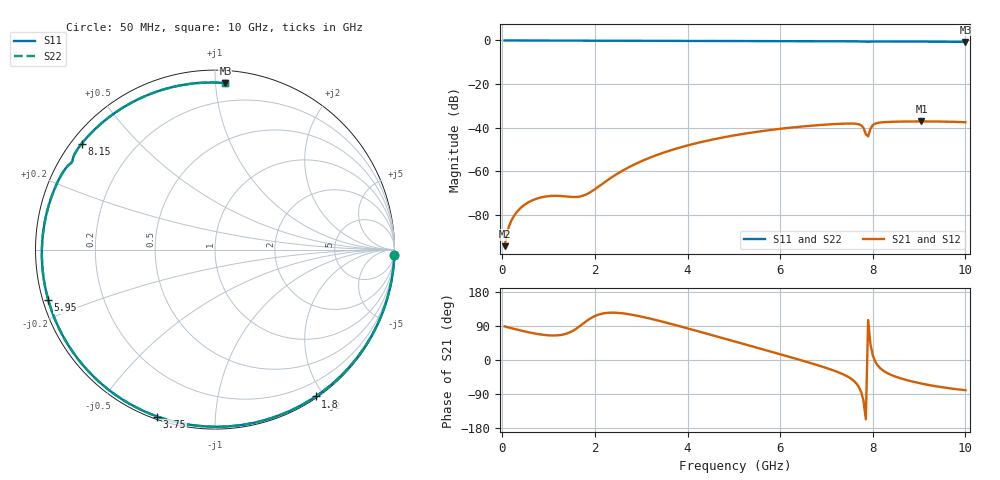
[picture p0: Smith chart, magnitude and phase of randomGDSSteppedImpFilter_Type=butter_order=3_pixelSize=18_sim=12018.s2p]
! freq	dB(S11)	phase(S11)	dB(S12)	phase(S12)
!  dB(S21)	phase(S21)	dB(S22)	phase(S22)
!S-par simulation data
#  GHz  S  DB  R 50
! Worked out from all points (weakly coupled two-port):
!   200 points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, 50 MHz to 10 GHz, reference 50 ohm
!   highest |S21| = -37.18 dB at 9.05 GHz (marker M1); lowest = -94.5 dB at 50 MHz (marker M2)
!   lowest |S11| = -0.6 dB at 10 GHz (marker M3), VSWR 27.28, Z = 3.9 + j53.1 ohm
!   |S11| at or under -10 dB: nowhere
!   |S22| runs from -0.6 to 0.0 dB; largest |S21 - S12| = 0
!   S11 on the Smith chart (normalised r, x): 50 MHz: 0, -71; 1.8 GHz: 0.02, -1.90; 3.75 GHz: 0.01, -0.71; 5.95 GHz: 0.02, -0.15; 8.15 GHz: 0.03, +0.35; 10 GHz: 0.08, +1.06
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0.05  -0.00 -1.6  -94.45 88.7  -94.45 88.7  -0.00 -1.6
0.25  -0.01 -7.9  -80.65 82.2  -80.65 82.2  -0.01 -7.9
0.55  -0.02 -17.4  -74.49 73.6  -74.49 73.6  -0.02 -17.4
0.85  -0.03 -26.8  -72.00 67.0  -72.00 67.0  -0.03 -26.7
1.75  -0.07 -54.1  -71.24 96.4  -71.24 96.4  -0.07 -54.1
1.8  -0.07 -55.5  -70.82 101.1  -70.82 101.1  -0.07 -55.5
2.65  -0.10 -79.8  -59.15 122.4  -59.15 122.4  -0.10 -79.8
3.4  -0.13 -100.0  -52.12 103.0  -52.12 103.0  -0.13 -100.0
3.75  -0.14 -109.1  -49.70 91.8  -49.70 91.8  -0.14 -109.1
5.05  -0.20 -141.4  -43.44 47.8  -43.44 47.8  -0.20 -141.4
5.95  -0.26 -163.2  -40.69 16.9  -40.69 16.9  -0.26 -163.2
6.7  -0.32 178.5  -39.09 -9.6  -39.09 -9.6  -0.32 178.5
7.65  -0.43 154.1  -38.29 -62.5  -38.29 -62.5  -0.43 154.1
7.75  -0.47 151.4  -38.98 -84.7  -38.98 -84.7  -0.47 151.4
7.85  -0.58 149.0  -43.02 -156.5  -43.02 -156.5  -0.58 149.0
7.9  -0.59 148.3  -44.05 105.5  -44.05 105.5  -0.59 148.3
7.95  -0.53 147.2  -40.50 41.3  -40.50 41.3  -0.53 147.2
8  -0.48 145.8  -38.88 12.4  -38.88 12.4  -0.48 145.8
8.15  -0.46 141.5  -37.70 -20.5  -37.70 -20.5  -0.46 141.5
8.35  -0.47 135.9  -37.39 -36.8  -37.39 -36.8  -0.47 135.9
9.05  -0.54 115.7  -37.18 -62.1  -37.18 -62.1  -0.54 115.7
10  -0.64 86.4  -37.54 -79.5  -37.54 -79.5  -0.64 86.4
